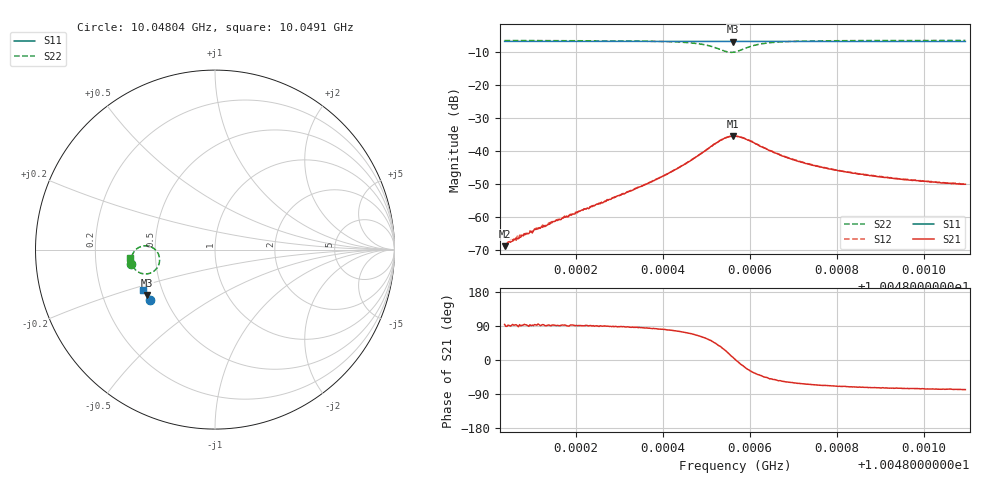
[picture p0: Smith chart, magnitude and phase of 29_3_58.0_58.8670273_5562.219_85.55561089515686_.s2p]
#  HZ  S  RI  R  50.00
! Rohde & Schwarz Vector Network Analyzer
! Rohde-Schwarz,ZNB20-2Port,1311601062101988,3.16
! Created: UTC 3/21/2024, 12:51:37 AM
! freq[Hz]  re:S11  im:S11  re:S21  im:S21  re:S12  im:S12  re:S22  im:S22
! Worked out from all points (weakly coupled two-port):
!   401 points, 10.04804 GHz to 10.0491 GHz, reference 50 ohm
!   highest |S21| = -35.47 dB at 10.04856 GHz (marker M1); lowest = -69.0 dB at 10.04804 GHz (marker M2)
!   lowest |S11| = -6.8 dB at 10.04856 GHz (marker M3), VSWR 2.68, Z = 20.1 - j12.8 ohm
!   |S11| at or under -10 dB: nowhere
!   |S22| runs from -10.1 to -6.5 dB; largest |S21 - S12| = 0.0012
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1.0048036e10  -0.3625 -0.2824  -2.4e-05 0.000356  -1.54e-05 0.000391  -0.4668 -0.0811
1.0048041e10  -0.3627 -0.2822  8.46e-06 0.000386  -2.16e-05 0.000394  -0.4669 -0.0804
1.0048054e10  -0.3631 -0.2814  -2.72e-05 0.000425  -3.55e-05 0.00044  -0.467 -0.0792
1.0048081e10  -0.3643 -0.2798  -3.85e-05 0.000551  -1.71e-05 0.000527  -0.4672 -0.0764
1.0048089e10  -0.3646 -0.2795  -1.06e-05 0.000551  -4.76e-05 0.000561  -0.4673 -0.0757
1.0048142e10  -0.3666 -0.2767  -8.68e-07 0.000803  -9.15e-05 0.000817  -0.4674 -0.0699
1.0048213e10  -0.3694 -0.2725  -1.41e-05 0.00126  -0.000109 0.00124  -0.4674 -0.0609
1.0048306e10  -0.3731 -0.2674  8.49e-05 0.0022  -3.24e-05 0.00222  -0.4656 -0.0459
1.0048391e10  -0.3761 -0.2625  0.000553 0.00381  0.00032 0.00385  -0.4593 -0.0253
1.0048457e10  -0.3784 -0.2585  0.00214 0.00636  0.0018 0.00648  -0.44 0.000933
1.0048489e10  -0.3794 -0.2566  0.00444 0.00805  0.00396 0.00834  -0.4157 0.016
1.0048516e10  -0.3799 -0.2548  0.00827 0.00914  0.00756 0.0095  -0.378 0.021
1.0048542e10  -0.3801 -0.2535  0.014 0.00694  0.0133 0.00777  -0.3271 -0.00621
1.0048561e10  -0.3804 -0.253  0.0167 0.00222  0.0162 0.00329  -0.3087 -0.0538
1.0048566e10  -0.3806 -0.2528  0.0167 0.000555  0.0166 0.0018  -0.3095 -0.069
1.0048595e10  -0.3818 -0.2519  0.0132 -0.0061  0.0138 -0.00498  -0.3503 -0.1263
1.0048632e10  -0.3837 -0.2501  0.00792 -0.00779  0.00845 -0.00733  -0.4056 -0.1335
1.0048677e10  -0.3855 -0.2476  0.00456 -0.00687  0.00508 -0.00665  -0.4379 -0.1175
1.0048744e10  -0.388 -0.2438  0.00255 -0.00549  0.00292 -0.00541  -0.456 -0.0968
1.0048831e10  -0.3912 -0.2385  0.00154 -0.00442  0.00185 -0.00433  -0.4649 -0.0786
1.0048921e10  -0.3942 -0.2334  0.00105 -0.00374  0.00127 -0.00369  -0.4689 -0.0655
1.0049096e10  -0.3996 -0.223  0.000639 -0.00304  0.000835 -0.00303  -0.4722 -0.0463
